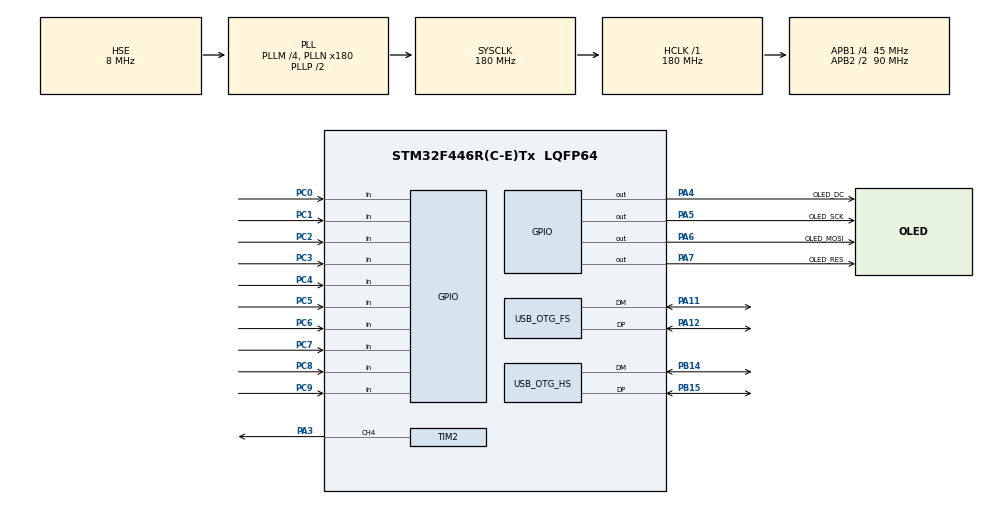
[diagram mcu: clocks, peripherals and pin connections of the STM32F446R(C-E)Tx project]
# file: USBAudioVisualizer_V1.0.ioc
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Dma.Request0=TIM2_CH2/CH4
Dma.TIM2_CH2/CH4.0.Direction=DMA_MEMORY_TO_PERIPH
Dma.TIM2_CH2/CH4.0.FIFOMode=DMA_FIFOMODE_DISABLE
Dma.TIM2_CH2/CH4.0.Instance=DMA1_Stream6
Dma.TIM2_CH2/CH4.0.MemDataAlignment=DMA_MDATAALIGN_WORD
Dma.TIM2_CH2/CH4.0.MemInc=DMA_MINC_ENABLE
Dma.TIM2_CH2/CH4.0.Mode=DMA_NORMAL
Dma.TIM2_CH2/CH4.0.PeriphDataAlignment=DMA_PDATAALIGN_WORD
Dma.TIM2_CH2/CH4.0.PeriphInc=DMA_PINC_DISABLE
Dma.TIM2_CH2/CH4.0.Priority=DMA_PRIORITY_LOW
FREERTOS.Tasks01=defaultTask,24,1024,StartDefaultTask,Default,NULL,Dynamic,NULL,NULL;audioProcTask,16,1024,StartAudioProcTask,As external,NULL,Dynamic,NULL,NULL
FREERTOS.configENABLE_FPU=1
Mcu.Family=STM32F4
Mcu.Name=STM32F446R(C-E)Tx
Mcu.Package=LQFP64
NVIC.DMA1_Stream6_IRQn=true\:5\:0\:false\:false\:true\:true\:false\:true\:true
NVIC.OTG_FS_IRQn=true\:6\:0\:true\:false\:true\:true\:false\:true\:true
NVIC.OTG_HS_IRQn=true\:6\:0\:true\:false\:true\:true\:false\:true\:true
NVIC.PriorityGroup=NVIC_PRIORITYGROUP_4
NVIC.TIM2_IRQn=true\:5\:0\:false\:false\:true\:true\:true\:true\:true
NVIC.TIM6_DAC_IRQn=true\:15\:0\:false\:false\:true\:false\:false\:true\:true
NVIC.TimeBase=TIM6_DAC_IRQn
NVIC.TimeBaseIP=TIM6
PA11.Mode=Device_Only
PA11.Signal=USB_OTG_FS_DM
PA12.Mode=Device_Only
PA12.Signal=USB_OTG_FS_DP
PA13.Mode=Serial_Wire
PA13.Signal=SYS_JTMS-SWDIO
PA14.Mode=Serial_Wire
PA14.Signal=SYS_JTCK-SWCLK
PA3.GPIO_Speed=GPIO_SPEED_FREQ_VERY_HIGH
PA3.Signal=S_TIM2_CH4
PA4.GPIO_Label=OLED_DC
PA4.GPIO_Speed=GPIO_SPEED_FREQ_VERY_HIGH
PA4.Signal=GPIO_Output
PA5.GPIO_Label=OLED_SCK
PA5.GPIO_Speed=GPIO_SPEED_FREQ_VERY_HIGH
PA5.Signal=GPIO_Output
PA6.GPIO_Label=OLED_MOSI
PA6.GPIO_Speed=GPIO_SPEED_FREQ_VERY_HIGH
PA6.Signal=GPIO_Output
PA7.GPIO_Label=OLED_RES
PA7.GPIO_Speed=GPIO_SPEED_FREQ_VERY_HIGH
PA7.Signal=GPIO_Output
PB14.Mode=Host_FS
PB14.Signal=USB_OTG_HS_DM
PB15.Mode=Host_FS
PB15.Signal=USB_OTG_HS_DP
PC0.Signal=GPIO_Input
PC1.Signal=GPIO_Input
PC2.Signal=GPIO_Input
PC3.Signal=GPIO_Input
PC4.Signal=GPIO_Input
PC5.Signal=GPIO_Input
PC6.Signal=GPIO_Input
PC7.Signal=GPIO_Input
PC8.Signal=GPIO_Input
PC9.Signal=GPIO_Input
PH0-OSC_IN.Mode=HSE-External-Oscillator
PH0-OSC_IN.Signal=RCC_OSC_IN
PH1-OSC_OUT.Mode=HSE-External-Oscillator
PH1-OSC_OUT.Signal=RCC_OSC_OUT
ProjectManager.HeapSize=0x2000
ProjectManager.StackSize=0x4000
ProjectManager.TargetToolchain=CMake
RCC.AHBFreq_Value=180000000
RCC.APB1CLKDivider=RCC_HCLK_DIV4
RCC.APB1Freq_Value=45000000
RCC.APB1TimFreq_Value=90000000
RCC.APB2CLKDivider=RCC_HCLK_DIV2
RCC.APB2Freq_Value=90000000
RCC.APB2TimFreq_Value=180000000
RCC.CortexFreq_Value=180000000
RCC.HCLKFreq_Value=180000000
RCC.HSE_VALUE=8000000
RCC.PLLM=4
RCC.PLLN=180
RCC.PLLSAIM=4
RCC.PLLSAIN=96
RCC.PLLSAIP=RCC_PLLSAIP_DIV4
RCC.PLLSourceVirtual=RCC_PLLSOURCE_HSE
RCC.SYSCLKFreq_VALUE=180000000
RCC.SYSCLKSource=RCC_SYSCLKSOURCE_PLLCLK
RCC.USBCLockSelection=RCC_CLK48CLKSOURCE_PLLSAIP
RCC.USBFreq_Value=48000000
RCC.VCOOutputFreq_Value=360000000
SH.S_TIM2_CH4.0=TIM2_CH4,PWM Generation4 CH4
TIM2.Channel-PWM\ Generation4\ CH4=TIM_CHANNEL_4
TIM2.Period=112
USB_DEVICE.CLASS_NAME_FS=AUDIO
USB_DEVICE.PID_AUDIO_FS=22336
USB_DEVICE.PRODUCT_STRING_AUDIO_FS=USB Audio Visualizer 1.0
USB_DEVICE.USBD_AUDIO_FREQ-AUDIO_FS=48000
USB_DEVICE.VirtualMode-AUDIO_FS=Audio
USB_DEVICE.VirtualModeFS=Audio_FS
USB_HOST.USBH_HandleTypeDef-AUDIO_HS=hUsbHostHS
USB_HOST.USBH_MAX_DATA_BUFFER-AUDIO_HS=2048
USB_HOST.USBH_PROCESS_STACK_SIZE-AUDIO_HS=512
USB_HOST.VirtualModeHS=Audio
USB_OTG_FS.VirtualMode=Device_Only
USB_OTG_HS.VirtualMode-Host_FS=Host_FS
VP_FREERTOS_VS_CMSIS_V2.Mode=CMSIS_V2
VP_SYS_VS_tim6.Mode=TIM6
VP_TIM2_VS_ClockSourceINT.Mode=Internal
VP_USB_DEVICE_VS_USB_DEVICE_AUDIO_FS.Mode=AUDIO_FS
VP_USB_HOST_VS_USB_HOST_AUDIO_HS.Mode=AUDIO_HS
board=custom

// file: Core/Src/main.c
/* USER CODE BEGIN Header */
/**
  ******************************************************************************
  * @file           : main.c
  * @brief          : Main program body
  ******************************************************************************
  * @attention
  *
  * Copyright (c) 2026 STMicroelectronics.
  * All rights reserved.
  *
  * This software is licensed under terms that can be found in the LICENSE file
  * in the root directory of this software component.
  * If no LICENSE file comes with this software, it is provided AS-IS.
  *
  ******************************************************************************
  */
/* USER CODE END Header */
#include "main.h"
#include "cmsis_os.h"
#include "dma.h"
#include "tim.h"
#include "usb_device.h"
#include "usb_host.h"
#include "gpio.h"

/* USER CODE BEGIN Includes */
#include "audio_bridge.h"
#include "math.h"
#include "oled.h"
/* USER CODE END Includes */

void SystemClock_Config(void);
void PeriphCommonClock_Config(void);
void MX_FREERTOS_Init(void);

/* USER CODE BEGIN 0 */
/* Global RMS output from AudioMerge (single-pass) */
uint32_t audio_rms_last = 0;

extern void AudioMerge(uint16_t *dst, uint16_t start, uint16_t sample_pairs_count) {
  /* Single pass: mono mix + RMS sum. Avoid per-byte modulo for speed. */
  uint64_t sum_sq = 0;
  uint16_t pos = start;

  while (sample_pairs_count--) {
    uint16_t bytes[4];
    for (int i = 0; i < 4; i++) {
      bytes[i] = bridge_buffer[pos];
      pos++;
      if (pos >= BRIDGE_BUF_SIZE) pos = 0U;   /* faster than % */
    }
    int16_t left  = (int16_t)(bytes[0] | (bytes[1] << 8));
    int16_t right = (int16_t)(bytes[2] | (bytes[3] << 8));
    int16_t mono  = (int16_t)(((int32_t)left + (int32_t)right) / 2);
    uint16_t u    = (uint16_t)((int32_t)mono + 32768);
    *dst++ = u;

    int32_t s = (int32_t)u - 32768;
    sum_sq += (uint64_t)(s * s);
  }

  /* Store RMS for retrieval */
  audio_rms_last = (uint32_t)sqrtf((float)sum_sq / 1024.0f);
}

uint8_t GetSettingLevel(int x0, int x1, int x2) {
  uint8_t v0 = HAL_GPIO_ReadPin(GPIOC, 1u << x0) ^ 1;
  uint8_t v1 = HAL_GPIO_ReadPin(GPIOC, 1u << x1) ^ 1;
  uint8_t v2 = HAL_GPIO_ReadPin(GPIOC, 1u << x2) ^ 1;
  return (v2 << 2) | (v1 << 1) | v0;
}
extern uint8_t GetOnsetThreshold() {
  return GetSettingLevel(0, 1, 2);
}
extern uint8_t GetOnsetBarBrightness() {
  return GetSettingLevel(3, 4, 5);
}
extern uint8_t GetDisplayedVolume() {
  return GetSettingLevel(6, 7, 8);
}
extern void DisplaySettingsChange(uint8_t type, uint8_t level) {
  OLED_Clear();
  switch (type) {
    case 1:
      OLED_ShowString(0, 0, "Displayed", 8, 1);
      OLED_ShowString(0, 8, "Volume:", 8, 1);
      break;
    case 2:
      OLED_ShowString(0, 0, "Onset Bar", 8, 1);
      OLED_ShowString(0, 8, "Brightness:", 8, 1);
      break;
    case 3:
      OLED_ShowString(0, 0, "Onset", 8, 1);
      OLED_ShowString(0, 8, "Threshold:", 8, 1);
      break;
    default:
      OLED_ShowString(0, 0, "?", 16, 1);
      break;
  }
  uint8_t cur_x = 4 + 8;
  for (int i = 1; i <= 6; i++) {
    char buf[2] = {i + '0', '\0'};
    if (i - 1 == level) {
      char buf[4] = {'<', i + '0', '>', '\0'};
      OLED_ShowString(cur_x, 32, buf, 16, 0);
      cur_x += 4 * 8 + 2;
    } else {
      OLED_ShowString(cur_x, 32, buf, 16, 1);
      cur_x += 2 * 8 + 2;
    }
  }

  OLED_Refresh();
}

/* USER CODE END 0 */

int main(void)
{

  /* MCU Configuration--------------------------------------------------------*/

  /* Reset of all peripherals, Initializes the Flash interface and the Systick. */
  HAL_Init();

  /* Configure the system clock */
  SystemClock_Config();

  /* Configure the peripherals common clocks */
  PeriphCommonClock_Config();

  /* Initialize all configured peripherals */
  MX_GPIO_Init();
  MX_DMA_Init();
  MX_TIM2_Init();
  /* USER CODE BEGIN 2 */
  OLED_PreRTOS_Test();
  /* USER CODE END 2 */

  /* Init scheduler */
  osKernelInitialize();  /* Call init function for freertos objects (in cmsis_os2.c) */
  MX_FREERTOS_Init();

  /* Start scheduler */
  osKernelStart();

  /* We should never get here as control is now taken by the scheduler */

  /* Infinite loop */
  while (1)
  {

  }
}

void SystemClock_Config(void)
{
  RCC_OscInitTypeDef RCC_OscInitStruct = {0};
  RCC_ClkInitTypeDef RCC_ClkInitStruct = {0};

  /** Configure the main internal regulator output voltage
  */
  __HAL_RCC_PWR_CLK_ENABLE();
  __HAL_PWR_VOLTAGESCALING_CONFIG(PWR_REGULATOR_VOLTAGE_SCALE1);

  /** Initializes the RCC Oscillators according to the specified parameters
  * in the RCC_OscInitTypeDef structure.
  */
  RCC_OscInitStruct.OscillatorType = RCC_OSCILLATORTYPE_HSE;
  RCC_OscInitStruct.HSEState = RCC_HSE_ON;
  RCC_OscInitStruct.PLL.PLLState = RCC_PLL_ON;
  RCC_OscInitStruct.PLL.PLLSource = RCC_PLLSOURCE_HSE;
  RCC_OscInitStruct.PLL.PLLM = 4;
  RCC_OscInitStruct.PLL.PLLN = 180;
  RCC_OscInitStruct.PLL.PLLP = RCC_PLLP_DIV2;
  RCC_OscInitStruct.PLL.PLLQ = 2;
  RCC_OscInitStruct.PLL.PLLR = 2;
  if (HAL_RCC_OscConfig(&RCC_OscInitStruct) != HAL_OK)
  {
    Error_Handler();
  }

  /** Activate the Over-Drive mode
  */
  if (HAL_PWREx_EnableOverDrive() != HAL_OK)
  {
    Error_Handler();
  }

  /** Initializes the CPU, AHB and APB buses clocks
  */
  RCC_ClkInitStruct.ClockType = RCC_CLOCKTYPE_HCLK|RCC_CLOCKTYPE_SYSCLK
                              |RCC_CLOCKTYPE_PCLK1|RCC_CLOCKTYPE_PCLK2;
  RCC_ClkInitStruct.SYSCLKSource = RCC_SYSCLKSOURCE_PLLCLK;
  RCC_ClkInitStruct.AHBCLKDivider = RCC_SYSCLK_DIV1;
  RCC_ClkInitStruct.APB1CLKDivider = RCC_HCLK_DIV4;
  RCC_ClkInitStruct.APB2CLKDivider = RCC_HCLK_DIV2;

  if (HAL_RCC_ClockConfig(&RCC_ClkInitStruct, FLASH_LATENCY_5) != HAL_OK)
  {
    Error_Handler();
  }
}

void PeriphCommonClock_Config(void)
{
  RCC_PeriphCLKInitTypeDef PeriphClkInitStruct = {0};

  /** Initializes the peripherals clock
  */
  PeriphClkInitStruct.PeriphClockSelection = RCC_PERIPHCLK_CLK48;
  PeriphClkInitStruct.PLLSAI.PLLSAIM = 4;
  PeriphClkInitStruct.PLLSAI.PLLSAIN = 96;
  PeriphClkInitStruct.PLLSAI.PLLSAIQ = 2;
  PeriphClkInitStruct.PLLSAI.PLLSAIP = RCC_PLLSAIP_DIV4;
  PeriphClkInitStruct.PLLSAIDivQ = 1;
  PeriphClkInitStruct.Clk48ClockSelection = RCC_CLK48CLKSOURCE_PLLSAIP;
  if (HAL_RCCEx_PeriphCLKConfig(&PeriphClkInitStruct) != HAL_OK)
  {
    Error_Handler();
  }
}

void HAL_TIM_PeriodElapsedCallback(TIM_HandleTypeDef *htim)
{
  if (htim->Instance == TIM6)
  {
    HAL_IncTick();
  }
}

void Error_Handler(void)
{
  __disable_irq();
  while (1)
  {
  }
}

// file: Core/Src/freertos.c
/* USER CODE BEGIN Header */
/**
  ******************************************************************************
  * File Name          : freertos.c
  * Description        : Code for freertos applications
  ******************************************************************************
  * @attention
  *
  * Copyright (c) 2026 STMicroelectronics.
  * All rights reserved.
  *
  * This software is licensed under terms that can be found in the LICENSE file
  * in the root directory of this software component.
  * If no LICENSE file comes with this software, it is provided AS-IS.
  *
  ******************************************************************************
  */
/* USER CODE END Header */

#include "FreeRTOS.h"
#include "task.h"
#include "main.h"
#include "cmsis_os.h"

/* USER CODE BEGIN Includes */
#include "audio_bridge.h"
#include "oled.h"
#include "audio_dsp.h"
#include "ws2812.h"
#include <math.h>
/* USER CODE END Includes */

/* Definitions for defaultTask */
osThreadId_t defaultTaskHandle;
const osThreadAttr_t defaultTask_attributes = {
  .name = "defaultTask",
  .stack_size = 1024 * 4,
  .priority = (osPriority_t) osPriorityNormal,
};
/* Definitions for audioProcTask */
osThreadId_t audioProcTaskHandle;
const osThreadAttr_t audioProcTask_attributes = {
  .name = "audioProcTask",
  .stack_size = 1024 * 4,
  .priority = (osPriority_t) osPriorityBelowNormal,
};

/* USER CODE BEGIN FunctionPrototypes */
extern void AudioMerge(uint16_t *dst, uint32_t start, uint32_t sample_pairs_count);
extern uint32_t audio_rms_last;
/* USER CODE END FunctionPrototypes */

void StartDefaultTask(void *argument);
extern void StartAudioProcTask(void *argument);

extern void MX_USB_DEVICE_Init(void);
extern void MX_USB_HOST_Init(void);
void MX_FREERTOS_Init(void); /* (MISRA C 2004 rule 8.1) */

void MX_FREERTOS_Init(void) {

  /* Create the thread(s) */
  /* creation of defaultTask */
  defaultTaskHandle = osThreadNew(StartDefaultTask, NULL, &defaultTask_attributes);

  /* creation of audioProcTask */
  audioProcTaskHandle = osThreadNew(StartAudioProcTask, NULL, &audioProcTask_attributes);

}

void StartDefaultTask(void *argument)
{
  /* init code for USB_DEVICE */
  MX_USB_DEVICE_Init();

  /* init code for USB_HOST */
  MX_USB_HOST_Init();
  for(;;)
  {
    osDelay(1);
  }
}

/* USER CODE BEGIN Application */

#define WIN_LEN 1024U
// 1024 samples = 1024 / 48k = 21.3ms window length

const uint32_t displayedVolume[6] = {
  100U, 400U, 2000U, 5000U, 10000U, 23000
};
const uint32_t onsetBarBrightness[6] = {
  0, 20U, 50U, 90U, 170U, 255U
};
const float onsetThreshold[6] = {
  1.f, 1.25f, 1.5f, 2.2f, 4.f, 8.f
};

int8_t checkSettingsChange(uint8_t* dv, uint8_t* ob, uint8_t* ot) {
  uint8_t cur_dv = GetDisplayedVolume();
  uint8_t cur_ob = GetOnsetBarBrightness();
  uint8_t cur_ot = GetOnsetThreshold();

  if (cur_dv != *dv) {
    *dv = cur_dv;
    return 1;
  }
  if (cur_ob != *ob) {
    *ob = cur_ob;
    return 2;
  }
  if (cur_ot != *ot) {
    *ot = cur_ot;
    return 3;
  }
  return 0;
}

/* USER CODE BEGIN Header_StartAudioProcTask */
/**
* @brief Function implementing the audioProcTask thread.
* @param argument: Not used
* @retval None
*/
/* USER CODE END Header_StartAudioProcTask */
void StartAudioProcTask(void *argument)
{
  /* USER CODE BEGIN StartAudioProcTask */

  OLED_Init();
  MelSpectrogram_Init();
  WS2812_Init();

  uint8_t dv = GetDisplayedVolume();
  uint8_t ob = GetOnsetBarBrightness();
  uint8_t ot = GetOnsetThreshold();

  uint8_t changed_type = 0;
  uint32_t changed_time = 0;

  /* Infinite loop */
  for (; ; ) {

    changed_type = checkSettingsChange(&dv, &ob, &ot);
    if (changed_type != 0) {
      changed_time = osKernelGetTickCount();
    }

    if (osKernelGetTickCount() - changed_time < 1000U) {
      switch (changed_type) {
        case 1 : DisplaySettingsChange(1, dv); break;
        case 2 : DisplaySettingsChange(2, ob); break;
        case 3 : DisplaySettingsChange(3, ot); break;
        default: break;
      }
      continue;
    }

    uint16_t window[WIN_LEN];
    uint16_t end = bridge_rd;
    uint16_t start = (end >= 4*WIN_LEN) ? (end - 4*WIN_LEN) : (BRIDGE_BUF_SIZE + end - 4*WIN_LEN);
    AudioMerge(window, start, WIN_LEN);
    uint32_t rms = audio_rms_last;

    // print rms value on oled
    /*
    OLED_Clear();
    OLED_ShowString(0, 0, "RMS:", 8, 1);
    char buf[16];
    snprintf(buf, sizeof(buf), "%lu", rms);
    OLED_ShowString(30, 0, buf, 8, 1);
    */

    // print rms bar (same as demo: no Clear, bar on row 0-15, XOR text)
    uint32_t pct = (rms * 100U) / displayedVolume[dv];
    if (pct > 100U) pct = 100U;
    OLED_DrawBar(0, 15, (uint8_t)pct);

    OLED_ShowString(0, 1, "RMS:", 8, 2);
    OLED_ShowNum(24, 1, rms, 5, 8, 2);

    /* FPS counter (smoothed) */
    static uint32_t last_tick = 0;
    static uint32_t fps_smooth = 0;
    uint32_t now = osKernelGetTickCount();
    uint32_t delta = (now > last_tick) ? (now - last_tick) : 1U;
    last_tick = now;
    uint32_t fps = (delta > 0U) ? (1000U / delta) : 999U;
    if (fps_smooth == 0U) fps_smooth = fps;
    else fps_smooth = (fps_smooth * 7U + fps) / 8U;
    OLED_ShowString(74, 7, "FPS:", 8, 2);
    OLED_ShowNum(98, 7, fps_smooth, 3, 8, 2);

    //
    static float mel_data[POOLED_BINS];
    MelSpectrogram_Process(window, mel_data);
    float mel_max = MelSpectrogram_GetMax();

    /* Silence gate: suppress spectrogram when RMS or pct is negligible */
    #define SILENCE_RMS_THRESH  20U
    if (rms < SILENCE_RMS_THRESH || pct == 0U) {
      for (uint8_t i = 0; i < POOLED_BINS; i++) mel_data[i] = 0.0f;
      mel_max = 0.0f;
    }

    /* Scale spectrogram so tallest bar matches RMS bar percentage.
       Floor pct to 1% to avoid division-by-zero amplification of noise. */
    {
      uint32_t pct_s = (pct > 0U) ? pct : 1U;
      float spec_scale = mel_max * 100.0f / (float)pct_s;
      OLED_DrawSpectrogram(mel_data, spec_scale);
    }
    OLED_Refresh();

    // ws2812: onset queue — shift every frame, LED[i] = onset from i frames ago
    {
      static uint8_t trail[WS2812_NUM_LEDS] = {0};
      float onset = MelSpectrogram_GetOnset();

      /* Auto-normalize onset ceiling */
      static float onset_ceil = 0.001f;
      if (onset > onset_ceil)
        onset_ceil = onset;
      else
        onset_ceil = onset_ceil * 0.999f;
      if (onset_ceil < 0.0001f) onset_ceil = 0.0001f;

      float level = onset / onset_ceil;
      if (level > 1.0f) level = 1.0f;

      // nonlinear transform
      level = tanhf(onsetThreshold[ot] * level);

      /* Shift queue: LED[i+1] = LED[i], new value at LED[0] */
      for (int8_t i = WS2812_NUM_LEDS - 1; i > 0; i--)
        trail[i] = trail[i - 1];
      trail[0] = (uint8_t)(level * onsetBarBrightness[ob]);

      for (uint8_t i = 0; i < WS2812_NUM_LEDS; i++)
        WS2812_SetColor(i, trail[i], trail[i], trail[i]);
      WS2812_Update();
    }

    // superflux onset
    ;

    osDelay(1);
  }
  /* USER CODE END StartAudioProcTask */
}

/* USER CODE END Application */
